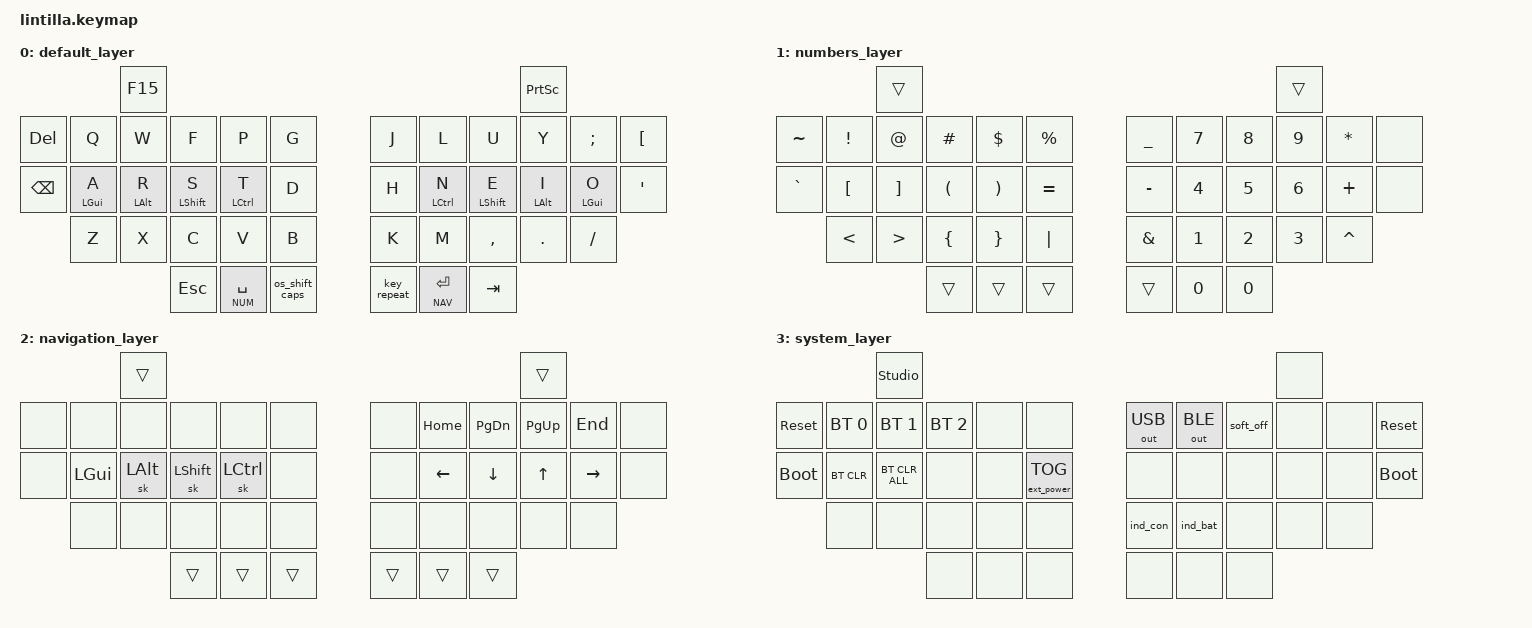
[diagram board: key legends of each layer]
#include <behaviors.dtsi>
#include <dt-bindings/zmk/bt.h>
#include <dt-bindings/zmk/keys.h>
#include <dt-bindings/zmk/outputs.h>
#include <dt-bindings/zmk/ext_power.h>
#include <behaviors/rgbled_widget.dtsi>

//     0                             1
//  2  3  4  5  6  7     8  9 10 11 12 13
// 14 15 16 17 18 19    20 21 22 23 24 25
//    26 27 28 29 30    31 32 33 34 35
//          36 37 38    39 40 41
#define LEFT_KEYS 0 2 3 4 5 6 7 14 15 16 17 18 19 26 27 28 29 30
#define LEFT_THUMBS 36 37 38
#define RIGHT_KEYS 8 9 10 11 12 13 20 21 22 23 24 25 31 32 33 34 35
#define RIGHT_THUMBS 39 40 41

#define BASE 0
#define NUM 1
#define NAV 2
#define SYS 3

/ {
    conditional_layers {
        compatible = "zmk,conditional-layers";

        sys_layer {
            if-layers = <NUM NAV>;
            then-layer = <SYS>;
        };
    };
};

/ {
    combos { compatible = "zmk,combos"; };

    // Ported from Sunaku's Keymap v30 -- "Glorious Engrammer"
    // - https://github.com/sunaku/glove80-keymaps

    behaviors {

        //////////////////////////////////////////////////////////////////////////
        //
        // Miryoku layers and home row mods (ported from my QMK endgame)
        // - https://sunaku.github.io/home-row-mods.html#porting-to-zmk
        // - https://github.com/urob/zmk-config#timeless-homerow-mods
        //
        //////////////////////////////////////////////////////////////////////////

        // HOMEY_HOLDING_TYPE defines the flavor of ZMK hold-tap behavior to use
        // for the pinky, ring, and middle fingers
        //
        #ifndef HOMEY_HOLDING_TYPE
        #define HOMEY_HOLDING_TYPE "tap-preferred"
        #endif

        // HOMEY_HOLDING_TIME defines how long you need to hold (milliseconds)
        // home row mod keys in order to send their modifiers to the computer
        // (i.e. "register" them) for mod-click mouse usage (e.g. Ctrl-Click).
        //
        #ifndef HOMEY_HOLDING_TIME
        #define HOMEY_HOLDING_TIME 175 // TAPPING_TERM + ALLOW_CROSSOVER_AFTER
        #endif

        // HOMEY_STREAK_DECAY defines how long you need to wait (milliseconds)
        // after typing before you can use home row mods again.  It prevents
        // unintended activation of home row mods when you're actively typing.
        //
        #ifndef HOMEY_STREAK_DECAY
        #define HOMEY_STREAK_DECAY 100 // global-quick-tap-ms
        #endif

        // HOMEY_REPEAT_DECAY defines how much time you have left (milliseconds)
        // after tapping a key to hold it again in order to make it auto-repeat.
        //
        #ifndef HOMEY_REPEAT_DECAY
        #define HOMEY_REPEAT_DECAY 100 // "tap then hold" for key auto-repeat
        #endif

        // THUMB_HOLDING_TYPE defines the flavor of ZMK hold-tap behavior to use
        // for the thumbs (which are assigned to 6 layers in the Miryoku system).
        //
        // NOTE: The "balanced" flavor of ZMK hold-tap provides instant modifier
        // activation for the symbol layer (if the tapped symbol key is released
        // while the thumb layer key is still held down) for quicker programming.
        //
        #ifndef THUMB_HOLDING_TYPE
        #define THUMB_HOLDING_TYPE "balanced"
        #endif

        // THUMB_HOLDING_TIME defines how long you need to hold (milliseconds)
        // a thumb key to activate a layer.  Shorter holds are treated as taps.
        //
        #ifndef THUMB_HOLDING_TIME
        #define THUMB_HOLDING_TIME 200
        #endif

        // THUMB_REPEAT_DECAY defines how much time you have left (milliseconds)
        // after tapping a key to hold it again in order to make it auto-repeat.
        //
        #ifndef THUMB_REPEAT_DECAY
        #define THUMB_REPEAT_DECAY 150 // "tap then hold" for key auto-repeat
        #endif

        // SPACE_HOLDING_TIME defines how long you need to hold (milliseconds)
        // the space thumb key to activate.  Shorter holds are treated as taps.
        //
        #ifndef SPACE_HOLDING_TIME
        #define SPACE_HOLDING_TIME 170
        #endif

        // SPACE_REPEAT_DECAY defines how much time you have left (milliseconds)
        // after tapping a key to hold it again in order to make it auto-repeat.
        //
        #ifndef SPACE_REPEAT_DECAY
        #define SPACE_REPEAT_DECAY 150 // "tap then hold" for key auto-repeat
        #endif

        // Home row mod-tap keys for all except index fingers
        //
        // TODO: not sure it's needed to have left and right, I never used the
        // chording thing.
        hml: miryoku_home_row_mods_left_hand {
            compatible = "zmk,behavior-hold-tap";
            label = "HOME_ROW_MODS_LEFT_HAND";
            flavor = HOMEY_HOLDING_TYPE;
            hold-trigger-key-positions = <RIGHT_KEYS LEFT_THUMBS RIGHT_THUMBS>;
            hold-trigger-on-release; // wait for other home row mods
            tapping-term-ms = <HOMEY_HOLDING_TIME>;
            quick-tap-ms = <HOMEY_REPEAT_DECAY>;
            require-prior-idle-ms = <HOMEY_STREAK_DECAY>;
            #binding-cells = <2>;
            bindings = <&kp>, <&kp>;
        };
        hmr: miryoku_home_row_mods_right_hand {
            compatible = "zmk,behavior-hold-tap";
            label = "HOME_ROW_MODS_RIGHT_HAND";
            flavor = HOMEY_HOLDING_TYPE;
            hold-trigger-key-positions = <LEFT_KEYS LEFT_THUMBS RIGHT_THUMBS>;
            hold-trigger-on-release; // wait for other home row mods
            tapping-term-ms = <HOMEY_HOLDING_TIME>;
            quick-tap-ms = <HOMEY_REPEAT_DECAY>;
            require-prior-idle-ms = <HOMEY_STREAK_DECAY>;
            #binding-cells = <2>;
            bindings = <&kp>, <&kp>;
        };

        // Thumb cluster hold-tap keys for Miryoku layers
        //
        thumb: miryoku_thumb_layer {
            compatible = "zmk,behavior-hold-tap";
            label = "MIRYOKU_THUMB_LAYER";
            flavor = THUMB_HOLDING_TYPE;
            tapping-term-ms = <THUMB_HOLDING_TIME>;
            quick-tap-ms = <THUMB_REPEAT_DECAY>; // enable repeat
            //global-quick-tap; // no typing streak
            //retro-tap; // don't allow slow (hold-like) taps
            #binding-cells = <2>;
            bindings = <&mo>, <&kp>;
        };
        space: miryoku_thumb_layer_spacebar {
            compatible = "zmk,behavior-hold-tap";
            label = "MIRYOKU_THUMB_LAYER_SPACEBAR";
            flavor = THUMB_HOLDING_TYPE;
            tapping-term-ms = <SPACE_HOLDING_TIME>;
            quick-tap-ms = <SPACE_REPEAT_DECAY>; // enable repeat
            //global-quick-tap; // no typing streak
            //retro-tap; // allow slow (hold-like) taps
            #binding-cells = <2>;
            bindings = <&mo>, <&kp>;
        };

        //////////////////////////////////////////////////////////////////////////
        //
        // Custom shifted pairs
        //
        //////////////////////////////////////////////////////////////////////////

        //
        // Shift + CapsWord = CapsLock
        //
        cappy: capsword_and_capslock {
            compatible = "zmk,behavior-mod-morph";
            label = "CAPSWORD_AND_CAPSLOCK";
            #binding-cells = <0>;
            bindings = <&caps_word>, <&kp CAPSLOCK>;
            mods = <(MOD_LSFT|MOD_RSFT)>;
        };

        //////////////////////////////////////////////////////////////////////////
        //
        // ZMK global overrides
        //
        //////////////////////////////////////////////////////////////////////////

        //
        // CapsWord - ported from Pascal Getreuer's extension for QMK
        // - https://zmk.dev/docs/behaviors/caps-word
        // - https://getreuer.info/posts/keyboards/caps-word/index.html
        //
        behavior_caps_word {
            continue-list = <
                UNDERSCORE MINUS
                BACKSPACE DELETE
                N1 N2 N3 N4 N5 N6 N7 N8 N9 N0
            >;
        };

        skq: sticky_key_quick_release {
            compatible = "zmk,behavior-sticky-key";
            #binding-cells = <1>;
            bindings = <&kp>;
            release-after-ms = <1000>;
            quick-release;
            ignore-modifiers;
        };

        os_shift_caps: tap_dance_0 {
            compatible = "zmk,behavior-tap-dance";
            #binding-cells = <0>;
            tapping-term-ms = <200>;
            bindings = <&skq LSHIFT>, <&cappy>;
        };

    };


    keymap {
        compatible = "zmk,keymap";

        default_layer {
            bindings = <
                          &kp F15                                                                                                                                  &kp PSCRN
&kp DEL     &kp Q         &kp W        &kp F            &kp P              &kp G               /* | */        &kp J             &kp L              &kp U              &kp Y             &kp SEMI          &kp LBKT
&kp BSPC    &hml LGUI A   &hml LALT R  &hml LSHIFT S    &hml LCTRL T       &kp D               /* | */        &kp H             &hmr LCTRL N       &hmr LSHIFT E      &hmr LALT I       &hmr LGUI O       &kp SQT
            &kp Z         &kp X        &kp C            &kp V              &kp B               /* | */        &kp K             &kp M              &kp COMMA          &kp DOT           &kp SLASH
                                        /* - - - - - - - - - - - - - - - - - - - - - - - - - - - - - - - - - - - - - - - - - - - - - - - - - - - - - - */
                                       &kp ESC          &space NUM SPACE   &os_shift_caps      /* | */        &key_repeat       &space NAV ENTER   &kp TAB
            >;
        };


        numbers_layer {
            bindings = <
                          &trans                                                                                                                                   &trans
&kp TILDE   &kp EXCL      &kp AT       &kp HASH         &kp DOLLAR            &kp PERCENT      /* | */        &kp UNDER      &kp N7            &kp N8              &kp N9            &kp STAR        &none
&kp GRAVE   &kp LBKT      &kp RBKT     &kp LPAR         &kp RPAR              &kp EQUAL        /* | */        &kp MINUS      &kp N4            &kp N5              &kp N6            &kp PLUS        &none
            &kp LT        &kp GT       &kp LBRC         &kp RBRC              &kp PIPE         /* | */        &kp AMPERSAND  &kp N1            &kp N2              &kp N3            &kp CARET
                                        /* - - - - - - - - - - - - - - - - - - - - - - - - - - - - - - - - - - - - - - - - - - - - - - - - - - - - - */
                                        &trans           &trans             &trans             /* | */        &trans         &kp N0            &kp N0
            >;
        };

        navigation_layer {
            bindings = <
                          &trans                                                                                                                                   &trans
&none       &none         &none         &none            &none              &none              /* | */        &none          &kp HOME           &kp PG_DN          &kp PG_UP          &kp END          &none
&none       &kp LGUI      &sk LALT      &sk LSHIFT       &sk LCTRL          &none              /* | */        &none          &kp LEFT           &kp DOWN           &kp UP             &kp RIGHT        &none
            &none         &none         &none            &none              &none              /* | */        &none          &none              &none              &none              &none
                                        /* - - - - - - - - - - - - - - - - - - - - - - - - - - - - - - - - - - - - - - - - - - - - - - - - - - - - - */
                                        &trans           &trans             &trans             /* | */        &trans         &trans             &trans
            >;
        };

        system_layer {
            bindings = <
                          &studio_unlock                                                                                                                           &none
&sys_reset  &bt BT_SEL 0  &bt BT_SEL 1   &bt BT_SEL 2    &none              &none              /* | */        &out OUT_USB   &out OUT_BLE       &soft_off          &none             &none           &sys_reset
&bootloader &bt BT_CLR    &bt BT_CLR_ALL &none           &none              &ext_power EP_TOG  /* | */        &none          &none              &none              &none             &none           &bootloader
            &none         &none          &none           &none              &none              /* | */        &ind_con       &ind_bat           &none              &none             &none
                                        /* - - - - - - - - - - - - - - - - - - - - - - - - - - - - - - - - - - - - - - - - - - - - - - - - - - - - - */
                                         &none           &none              &none              /* | */        &none          &none              &none
            >;
        };
    };
};
